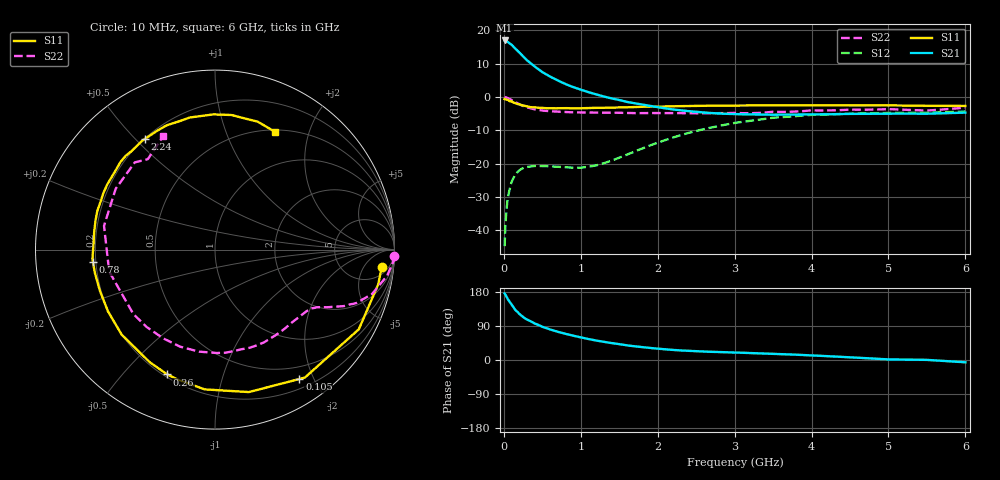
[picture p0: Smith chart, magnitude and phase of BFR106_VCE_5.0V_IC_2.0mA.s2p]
! Infineon Technologies  Discrete & RF Semiconductors
! BFR106
! VCE =  5.0 V,  IC =  2.0 mA
! Common Emitter S-Parameters:  Nov 2015
# GHz  S  MA  R  50
!  f  S11  S21  S12  S22
! GHz  MAG  ANG  MAG  ANG  MAG  ANG  MAG  ANG
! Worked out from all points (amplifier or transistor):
!   210 points, 10 MHz to 6 GHz, reference 50 ohm
!   highest |S21| = 17.0 dB at 10 MHz (marker M1)
!   |S21| within 3 dB of that: start of sweep to 175.8 MHz
!   unconditionally stable (mu >= 1): 792.3 MHz to 1.844 GHz; 4.012 GHz to end of sweep
!   at 185 MHz: K = 0.25, MSG = 18.1 dB, |S12| = -22.3 dB
!   at 1.52 GHz: K = 1.19, MAG = 5.9 dB, |S12| = -18.0 dB
!   at 6 GHz: K = 1.02, MAG = -1.0 dB, |S12| = -4.3 dB
!   S11 on the Smith chart (normalised r, x): 10 MHz: 9, -13; 105 MHz: 0.32, -1.80; 260 MHz: 0.21, -0.67; 780 MHz: 0.19, -0.05; 2.24 GHz: 0.20, +0.53; 6 GHz: 0.52, +1.50
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0.01  0.9337 -6.0  7.077 175.5  0.0058 89.2  0.998 -1.9
0.025  0.922 -14.8  6.946 170.8  0.0145 80.5  0.9914 -4.5
0.05  0.916 -29.0  6.759 161.1  0.0295 74.3  0.97 -8.7
0.1  0.8713 -54.9  6.133 145.9  0.0532 61.0  0.909 -15.8
0.105  0.8605 -56.9  6.042 144.7  0.0547 59.6  0.902 -16.3
0.15  0.816 -76.6  5.364 131.9  0.0695 50.3  0.8417 -20.7
0.2  0.7809 -94.2  4.714 122.0  0.0795 42.9  0.7832 -23.7
0.26  0.7447 -110.9  3.983 112.0  0.087 36.6  0.7279 -26.0
0.3  0.7254 -120.0  3.583 106.8  0.0895 33.7  0.7027 -27.2
0.4  0.7036 -137.6  2.884 96.4  0.0926 28.7  0.6543 -29.4
0.5  0.6884 -150.1  2.371 87.7  0.0928 26.7  0.6275 -31.6
0.6  0.6811 -160.3  2.03 80.6  0.0916 26.6  0.6141 -34.1
0.78  0.6836 -174.3  1.61 70.3  0.0886 30.4  0.5981 -39.4
1.02  0.6807 170.7  1.268 58.8  0.0878 41.7  0.588 -47.4
1.4  0.6972 153.2  0.956 44.7  0.1111 62.2  0.5845 -62.2
2.02  0.7197 129.7  0.7 29.5  0.2111 70.9  0.5753 -90.2
2.24  0.7298 122.5  0.645 26.0  0.2563 68.7  0.5736 -101.1
3.1  0.7482 98.8  0.552 19.1  0.4241 50.6  0.5739 -147.2
3.5  0.7534 90.7  0.544 16.5  0.4905 41.2  0.6021 -168.3
4.1  0.7534 81.7  0.55 11.2  0.5449 27.1  0.6297 164.0
5.1  0.749 70.6  0.565 1.3  0.5793 9.3  0.6531 131.4
6  0.7365 63.2  0.585 -6.1  0.6082 -2.1  0.6946 114.5
